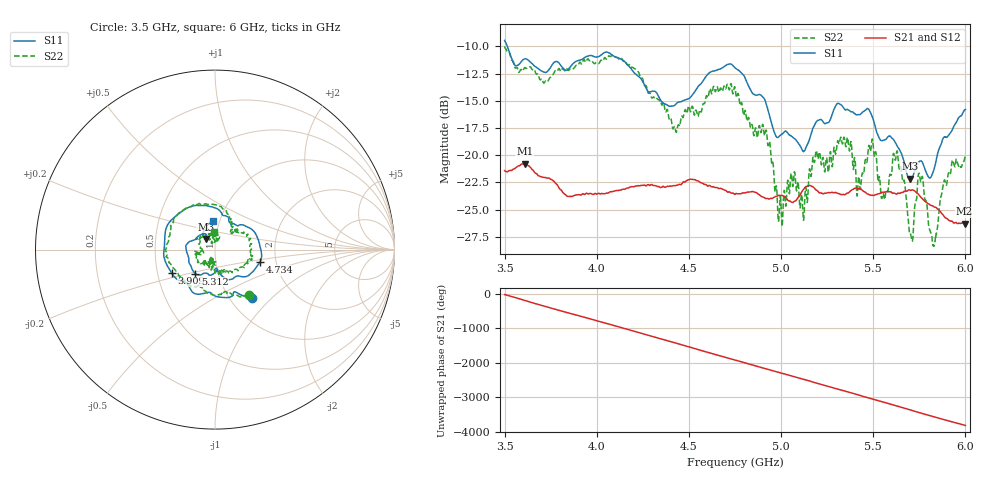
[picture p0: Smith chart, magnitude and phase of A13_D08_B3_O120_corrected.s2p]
! Created with skrf 1.9.0 (http://scikit-rf.org).
# Hz S RI R 50.0
!freq ReS11 ImS11 ReS21 ImS21 ReS12 ImS12 ReS22 ImS22
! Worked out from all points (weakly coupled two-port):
!   1601 points, 3.5 GHz to 6 GHz, reference 50 ohm
!   highest |S21| = -20.76 dB at 3.609 GHz (marker M1); lowest = -26.3 dB at 5.995 GHz (marker M2)
!   lowest |S11| = -22.2 dB at 5.698 GHz (marker M3), VSWR 1.17, Z = 44.8 + j5.3 ohm
!   |S11| at or under -10 dB: 3.515 GHz to end of sweep
!   |S22| runs from -28.4 to -10.0 dB; largest |S21 - S12| = 0.0011
!   S11 on the Smith chart (normalised r, x): 3.5 GHz: 1.26, -0.76; 3.909 GHz: 0.59, -0.17; 4.734 GHz: 1.65, -0.24; 5.312 GHz: 0.78, -0.21; 6 GHz: 0.93, +0.31
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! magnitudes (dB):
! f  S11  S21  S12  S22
! 3.5 GHz  -9.4  -21.4  -21.4  -10.0
! 3.609 GHz  -11.1  -20.8  -20.8  -11.9
! 3.909 GHz  -11.2  -23.6  -23.6  -11.4
! 3.917 GHz  -11.2  -23.6  -23.6  -11.6
! 4.334 GHz  -14.6  -22.9  -22.8  -14.9
! 4.425 GHz  -15.4  -22.8  -22.8  -17.5
! 4.734 GHz  -11.7  -23.5  -23.5  -14.0
! 4.75 GHz  -12.0  -23.6  -23.5  -13.8
! 4.911 GHz  -14.9  -23.9  -23.9  -18.2
! 4.995 GHz  -18.2  -23.7  -23.7  -23.8
! 5.167 GHz  -17.8  -22.9  -22.8  -21.2
! 5.312 GHz  -15.2  -23.5  -23.5  -18.9
! 5.42 GHz  -16.3  -23.1  -23.1  -22.0
! 5.487 GHz  -16.2  -23.7  -23.6  -19.4
! 5.584 GHz  -18.2  -23.4  -23.3  -22.6
! 5.638 GHz  -19.4  -23.5  -23.5  -20.9
! 5.698 GHz  -22.2  -23.2  -23.2  -27.2
! 5.756 GHz  -20.5  -23.8  -23.8  -22.4
! 5.833 GHz  -21.1  -24.8  -24.7  -28.1
! 5.88 GHz  -18.4  -25.5  -25.5  -22.7
! 5.995 GHz  -15.8  -26.3  -26.2  -20.4
! 6 GHz  -15.8  -26.3  -26.3  -19.9
